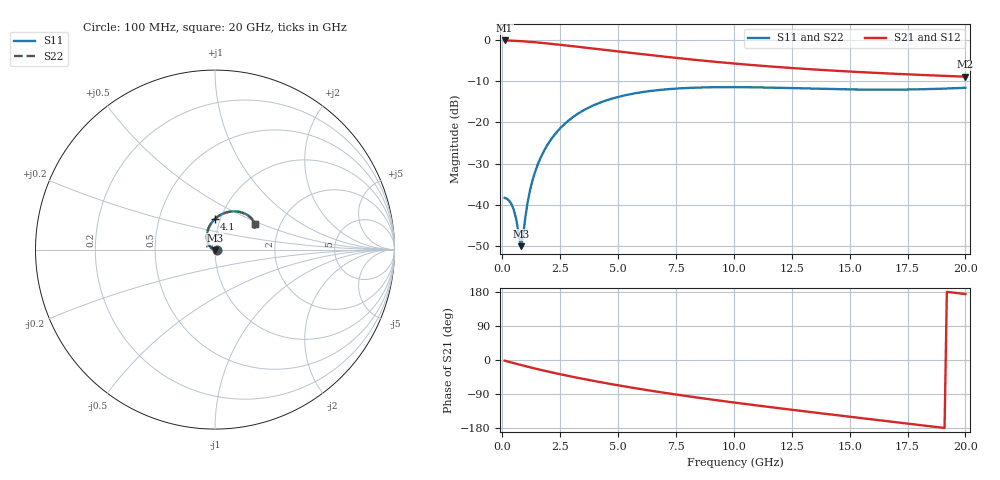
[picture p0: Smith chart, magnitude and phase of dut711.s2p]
! Touchstone file exported from HFSS 2024.1.0
!  File:  C:/UserFiles/LocalFiles/RDL_TSV_Batchsim/temp_RDL_TSV_711_1779888116.aedt
!  Generated:  09:36:54 PM May 27, 2026
!  Design:  RDL_TSV
!  Project:  temp_RDL_TSV_711_1779888116
!  Setup:  Setup1
!  Solution:  Sweep
! Variables:
!  dtsv = 7.95um
!  hbump = 3um
!  htsv = 96.74um
!  ldown = 607.72um
!  lrdl = 144.63um
!  p = 40
!  p1 = 53.82um
!  rhole = 10um
!  subl = 2401.68um
!  t = 450um
!  tdown = 2.89um
!  trdl = 2.76um
!  viad = 10um
!  wdown = 26.15um
!  wrdl = 24.47um
!  xbump = 18um
# GHz S MA R 50.000000
! Terminal data exported
! Port[1] = TM1_1_T1
! Port[2] = TM1_4_T1
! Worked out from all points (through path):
!   200 points, 100 MHz to 20 GHz, reference 50 ohm
!   highest |S21| = -0.13 dB at 100 MHz (marker M1); lowest = -8.9 dB at 20 GHz (marker M2)
!   group delay of S21, straight-line fit = 24.2 ps
!   lowest |S11| = -50.0 dB at 800 MHz (marker M3), VSWR 1.01, Z = 50 - j0.316 ohm
!   |S11| at or under -10 dB: start of sweep to end of sweep
!   |S22| runs from -49.1 to -11.5 dB; largest |S21 - S12| = 9.7e-15
!   S11 on the Smith chart (normalised r, x): 100 MHz: 1.02, -0.00; 4.1 GHz: 0.94, +0.33; 20 GHz: 1.49, +0.45
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0.1  0.01217 -2.3  0.9857 -1.7  0.9857 -1.7  0.01214 -2.6
! Gamma 0 0 0 0
! Port Impedance 50 0 50 0
0.3  0.01125 -9.6  0.9822 -5.1  0.9822 -5.1  0.01122 -10.3
0.5  0.008657 -22.1  0.9772 -8.3  0.9772 -8.3  0.008675 -23.6
0.6  0.00675 -32.4  0.9741 -9.9  0.9741 -9.9  0.006818 -34.5
0.8  0.003162 -93.3  0.967 -13.1  0.967 -13.1  0.00349 -94.9
0.9  0.004226 -148.1  0.9629 -14.7  0.9629 -14.7  0.004531 -145.2
1  0.00724 -173.6  0.9585 -16.3  0.9585 -16.3  0.007443 -170.8
1.1  0.01099 174.0  0.9538 -17.8  0.9538 -17.8  0.01112 176.3
1.2  0.01515 166.2  0.9489 -19.3  0.9489 -19.3  0.01524 168.0
1.4  0.02435 155.5  0.9384 -22.3  0.9384 -22.3  0.02437 156.9
1.7  0.0397 144.1  0.9214 -26.7  0.9214 -26.7  0.03965 145.1
2.1  0.06193 132.1  0.8974 -32.2  0.8974 -32.2  0.06177 132.8
2.5  0.08491 121.9  0.8729 -37.5  0.8729 -37.5  0.08466 122.4
3.5  0.1398 101.1  0.8119 -50.0  0.8119 -50.0  0.1393 101.5
4.1  0.1684 90.9  0.7767 -56.9  0.7767 -56.9  0.1679 91.2
5.3  0.2133 74.3  0.7102 -69.9  0.7102 -69.9  0.2126 74.5
6.8  0.2477 58.7  0.6365 -84.7  0.6365 -84.7  0.2468 58.9
8.4  0.2644 46.8  0.5708 -99.0  0.5708 -99.0  0.2634 46.9
10.1  0.2678 38.1  0.5151 -112.9  0.5151 -112.9  0.2667 38.1
13.4  0.2569 29.8  0.4395 -138.0  0.4395 -138.0  0.2557 29.8
16.7  0.2494 29.8  0.3917 -162.0  0.3917 -162.0  0.2482 29.8
20  0.263 32.7  0.3586 174.1  0.3586 174.1  0.2617 32.6
